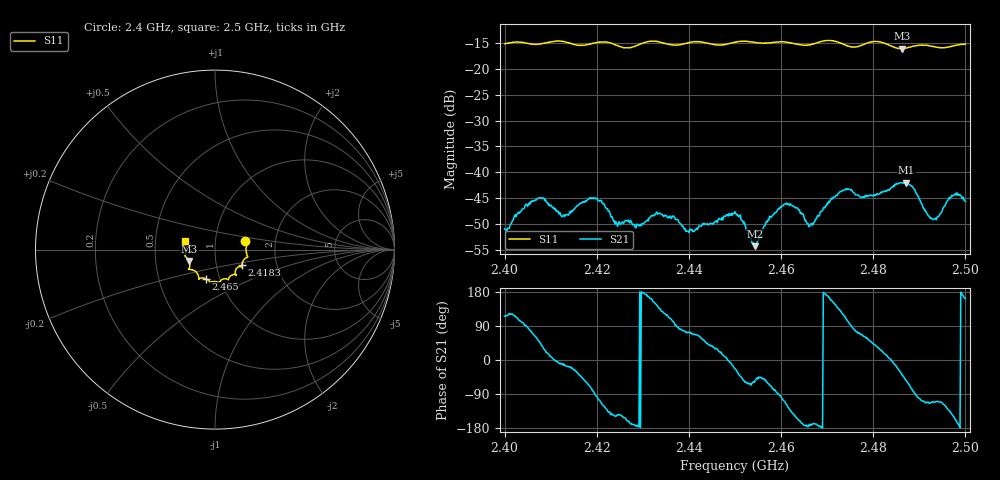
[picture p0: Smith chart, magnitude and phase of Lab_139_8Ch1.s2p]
# Hz S RI R 50
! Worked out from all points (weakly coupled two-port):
!   601 points, 2.4 GHz to 2.5 GHz, reference 50 ohm
!   highest |S21| = -42.02 dB at 2.4872 GHz (marker M1); lowest = -54.3 dB at 2.4543 GHz (marker M2)
!   lowest |S11| = -16.1 dB at 2.4862 GHz (marker M3), VSWR 1.37, Z = 37.2 - j4.81 ohm
!   |S11| at or under -10 dB: start of sweep to end of sweep
!   S12 and S22 are empty: the file has one direction only
!   S11 on the Smith chart (normalised r, x): 2.4 GHz: 1.40, +0.14; 2.4183 GHz: 1.33, -0.24; 2.465 GHz: 0.86, -0.28; 2.5 GHz: 0.71, +0.07
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2.4e9  0.1689 0.047  -0.00122 0.00254  0 0  0 0
2.407333e9  0.1733 -0.00774  0.00346 0.00437  0 0  0 0
2.412667e9  0.18 -0.0422  0.00367 -0.000875  0 0  0 0
2.416667e9  0.1547 -0.0682  0.00352 -0.00355  0 0  0 0
2.418333e9  0.1502 -0.0867  0.00213 -0.00508  0 0  0 0
2.421167e9  0.153 -0.1001  -0.00231 -0.00448  0 0  0 0
2.4245e9  0.1386 -0.0951  -0.00242 -0.00176  0 0  0 0
2.428833e9  0.1124 -0.1271  -0.00311 -0.000306  0 0  0 0
2.433333e9  0.1176 -0.1409  -0.00308 0.00254  0 0  0 0
2.439833e9  0.0765 -0.1621  0.000789 0.00255  0 0  0 0
2.45e9  0.0261 -0.1801  0.00382 -0.00161  0 0  0 0
2.454333e9  0.0123 -0.1803  0.00111 -0.00157  0 0  0 0
2.460667e9  -0.0284 -0.1807  -0.00157 -0.00465  0 0  0 0
2.465e9  -0.0524 -0.1615  -0.00359 -0.000489  0 0  0 0
2.466667e9  -0.0712 -0.1577  -0.00308 -0.000592  0 0  0 0
2.4735e9  -0.0922 -0.1473  -0.0033 0.00578  0 0  0 0
2.483333e9  -0.1412 -0.0966  0.00666 0.000719  0 0  0 0
2.486167e9  -0.1439 -0.0632  0.00635 -0.00474  0 0  0 0
2.487167e9  -0.1503 -0.0532  0.00459 -0.00647  0 0  0 0
2.492833e9  -0.164 -0.0216  -0.00123 -0.0033  0 0  0 0
2.497333e9  -0.1644 0.0297  -0.00506 -0.00315  0 0  0 0
2.5e9  -0.1669 0.0469  -0.00497 0.0016  0 0  0 0
